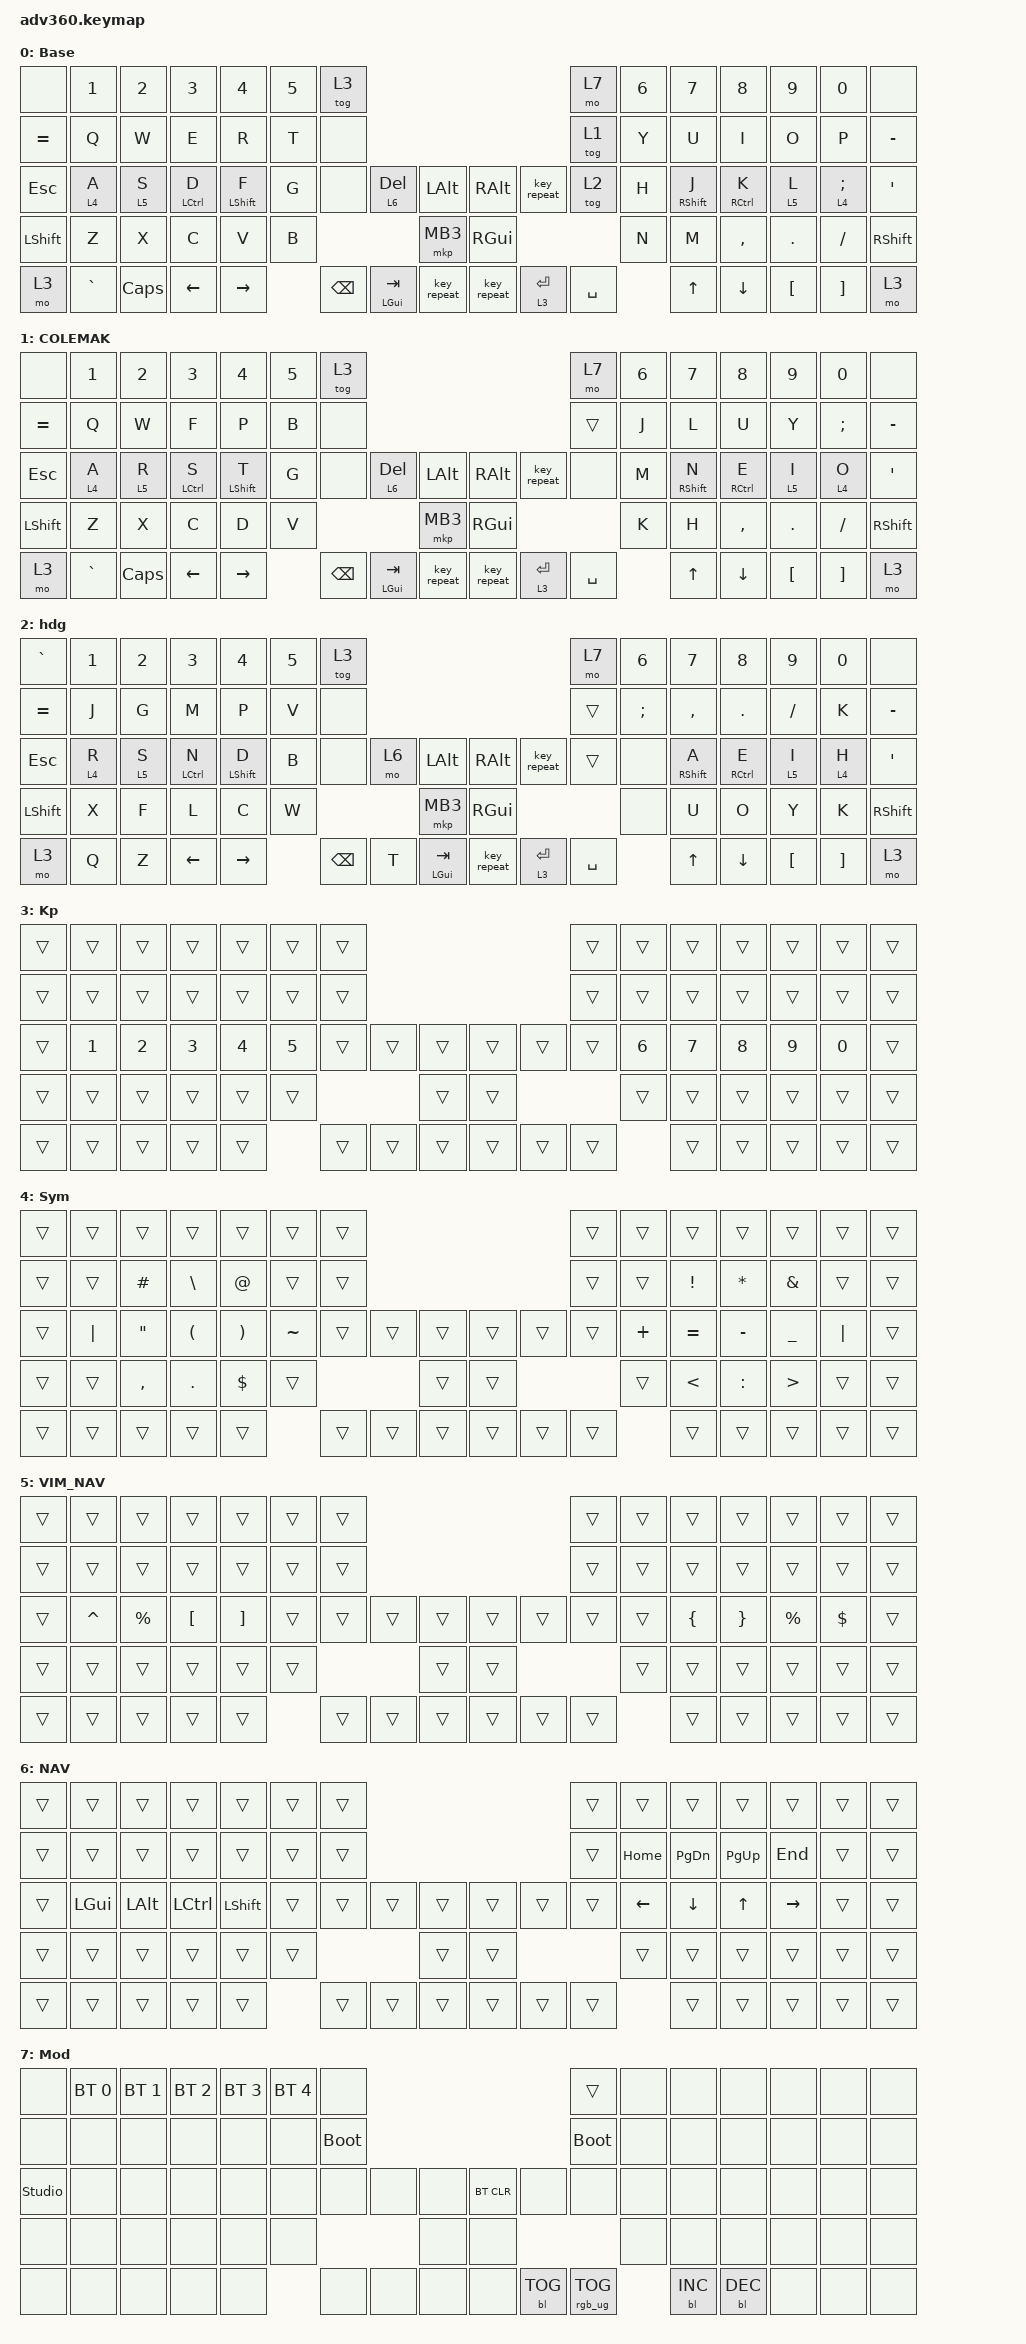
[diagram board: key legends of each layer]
#include <dt-bindings/zmk/stp.h>
#include <behaviors.dtsi>
#include <dt-bindings/zmk/backlight.h>
#include <dt-bindings/zmk/bt.h>
#include <dt-bindings/zmk/keys.h>
#include <dt-bindings/zmk/pointing.h>
#include <dt-bindings/zmk/rgb.h>

#define KPL 1
#define MOD 2
#define SYM 3
#define NAV 4
#define HM_A hll SYM A
#define HM_S hll KPL S
#define HM_D hml LCTRL D
#define HM_F hml LSHIFT F
#define HM_J    hmr RSHIFT J
#define HM_K    hmr RCTRL K
#define HM_L    hnl NAV L
#define HM_SEMI hlr SYM SEMI
#define KEYS_LEFT  0  1  2  3  4  5  6 \
                  14 15 16 17 18 19 20 \
                  28 29 30 31 32 33 34 \
                  46 47 48 49 50 51    \
                  60 61 62 63 64
#define KEYS_RIGHT  7  8  9 10 11 12 13 \
                   21 22 23 24 25 26 27 \
                   39 40 41 42 43 44 45 \
                      54 55 56 57 58 59 \
                         71 72 73 74 75
#define KEYS_NAV 29 30 31 32             41 42    44 \
                                      54 55 56 57
#define THUMBS_LEFT 35 36 52 65 66 67
#define THUMBS_RIGHT 37 38 53 68 69 70

&mt {
    tapping-term-ms = <170>;
    quick-tap-ms = <100>;
    flavor = "balanced";
};

/ {
    behaviors {
        #include "macros.dtsi"
	#include "version.dtsi"

        hll: home_row_layer_left {
            compatible = "zmk,behavior-hold-tap";
            #binding-cells = <2>;
            flavor = "balanced";
            require-prior-idle-ms = <60>;
            tapping-term-ms = <200>;
            quick-tap-ms = <100>;
            bindings = <&mo>, <&kp>;

            hold-trigger-key-positions = <KEYS_RIGHT 7 8 9 10 11 12 13 21 22 23 24 25 26 27 39 40 41 42 43 44 45 54 55 56 57 58 59 71 72 73 74 75>;
            hold-trigger-on-release;
            label = "HLL";
        };

        hlr: home_layer_right {
            compatible = "zmk,behavior-hold-tap";
            #binding-cells = <2>;
            flavor = "balanced";
            require-prior-idle-ms = <60>;
            tapping-term-ms = <200>;
            quick-tap-ms = <100>;
            bindings = <&mo>, <&kp>;

            hold-trigger-key-positions = <KEYS_LEFT 0 1 2 3 4 5 6 14 15 16 17 18 19 20 28 29 30 31 32 33 34 46 47 48 49 50 51 60 61 62 63 64>;
            hold-trigger-on-release;
            label = "HLR";
        };

        hml: home_row_mod_left {
            compatible = "zmk,behavior-hold-tap";
            #binding-cells = <2>;
            flavor = "balanced";
            require-prior-idle-ms = <150>;
            tapping-term-ms = <280>;
            quick-tap-ms = <175>;
            bindings = <&kp>, <&kp>;

            hold-trigger-key-positions = <THUMBS_RIGHT KEYS_RIGHT 7 8 9 10 11 12 13 21 22 23 24 25 26 27 37 38 39 40 41 42 43 44 45 53 54 55 56 57 58 59 68 69 70 71 72 73 74 75>;
            hold-trigger-on-release;
        };

        hmr: home_row_mod_right {
            compatible = "zmk,behavior-hold-tap";
            #binding-cells = <2>;
            flavor = "balanced";
            require-prior-idle-ms = <150>;
            tapping-term-ms = <280>;
            quick-tap-ms = <175>;
            bindings = <&kp>, <&kp>;

            hold-trigger-key-positions = <THUMBS_LEFT KEYS_LEFT 0 1 2 3 4 5 6 14 15 16 17 18 19 20 28 29 30 31 32 33 34 46 47 48 49 50 51 60 61 62 63 64 35 36 52 64 65 66 67>;
            hold-trigger-on-release;
        };
    };

    combos {
        compatible = "zmk,combos";

        leader {
            key-positions = <32 41>;
            bindings = <&kp BSLH>;
        };

        capsword {
            bindings = <&caps_word>;
            key-positions = <31 42>;
        };

        hdg_q {
            bindings = <&kp Q>;
            key-positions = <15 16>;
        };

        hdg_z {
            bindings = <&kp Z>;
            key-positions = <16 18>;
        };
    };

    keymap {
        compatible = "zmk,keymap";

        default_layer {
            display-name = "Base";
            bindings = <
&none      &kp N1     &kp N2    &kp N3        &kp N4        &kp N5  &tog 3                                                             &mo 7      &kp N6  &kp N7        &kp N8        &kp N9    &kp N0            &none
&kp EQUAL  &kp Q      &kp W     &kp E         &kp R         &kp T   &none                                                              &tog 1     &kp Y   &kp U         &kp I         &kp O     &kp P             &kp MINUS
&kp ESC    &hll 4 A   &hll 5 S  &hml LCTRL D  &hml LSHFT F  &kp G   &none     &lt 6 DEL     &kp LALT         &kp RALT     &key_repeat  &tog 2     &kp H   &hmr RSHFT J  &hmr RCTRL K  &hlr 5 L  &hlr 4 SEMICOLON  &kp SQT
&kp LSHFT  &kp Z      &kp X     &kp C         &kp V         &kp B                           &mkp MB3         &kp RGUI                             &kp N   &kp M         &kp COMMA     &kp DOT   &kp FSLH          &kp RSHFT
&mo 3      &kp GRAVE  &kp CAPS  &kp LEFT      &kp RIGHT             &kp BSPC  &mt LGUI TAB  &key_repeat      &key_repeat  &lt 3 ENTER  &kp SPACE          &kp UP        &kp DOWN      &kp LBKT  &kp RBKT          &mo 3
            >;
        };

        colemak {
            display-name = "COLEMAK";
            bindings = <
&none      &kp N1     &kp N2    &kp N3        &kp N4        &kp N5  &tog 3                                                             &mo 7      &kp N6  &kp N7        &kp N8        &kp N9    &kp N0    &none
&kp EQUAL  &kp Q      &kp W     &kp F         &kp P         &kp B   &none                                                              &trans     &kp J   &kp L         &kp U         &kp Y     &kp SEMI  &kp MINUS
&kp ESC    &hll 4 A   &hll 5 R  &hml LCTRL S  &hml LSHFT T  &kp G   &none     &lt 6 DEL     &kp LALT         &kp RALT     &key_repeat  &none      &kp M   &hmr RSHFT N  &hmr RCTRL E  &hlr 5 I  &hlr 4 O  &kp SQT
&kp LSHFT  &kp Z      &kp X     &kp C         &kp D         &kp V                           &mkp MB3         &kp RGUI                             &kp K   &kp H         &kp COMMA     &kp DOT   &kp FSLH  &kp RSHFT
&mo 3      &kp GRAVE  &kp CAPS  &kp LEFT      &kp RIGHT             &kp BSPC  &mt LGUI TAB  &key_repeat      &key_repeat  &lt 3 ENTER  &kp SPACE          &kp UP        &kp DOWN      &kp LBKT  &kp RBKT  &mo 3
            >;
        };

        hands_down_gold {
            display-name = "hdg";
            bindings = <
&kp GRAVE  &kp N1    &kp N2    &kp N3        &kp N4        &kp N5  &tog 3                                                            &mo 7      &kp N6    &kp N7        &kp N8        &kp N9    &kp N0    &none
&kp EQUAL  &kp J     &kp G     &kp M         &kp P         &kp V   &none                                                             &trans     &kp SEMI  &kp COMMA     &kp DOT       &kp FSLH  &kp K     &kp MINUS
&kp ESC    &hll 4 R  &hll 5 S  &hml LCTRL N  &hml LSHFT D  &kp B   &none          &mo 6  &kp LALT          &kp RALT     &key_repeat  &trans     &none     &hmr RSHFT A  &hmr RCTRL E  &hlr 5 I  &hlr 4 H  &kp SQT
&kp LSHFT  &kp X     &kp F     &kp L         &kp C         &kp W                         &mkp MB3          &kp RGUI                             &none     &kp U         &kp O         &kp Y     &kp K     &kp RSHFT
&mo 3      &kp Q     &kp Z     &kp LEFT      &kp RIGHT             &kp BACKSPACE  &kp T  &mt LGUI TAB      &key_repeat  &lt 3 ENTER  &kp SPACE            &kp UP        &kp DOWN      &kp LBKT  &kp RBKT  &mo 3
            >;
        };

        keypad {
            display-name = "Kp";
            bindings = <
&trans  &trans  &trans  &trans  &trans  &trans  &trans                                      &trans  &trans  &trans  &trans  &trans  &trans  &trans
&trans  &trans  &trans  &trans  &trans  &trans  &trans                                      &trans  &trans  &trans  &trans  &trans  &trans  &trans
&trans  &kp N1  &kp N2  &kp N3  &kp N4  &kp N5  &trans  &trans  &trans      &trans  &trans  &trans  &kp N6  &kp N7  &kp N8  &kp N9  &kp N0  &trans
&trans  &trans  &trans  &trans  &trans  &trans                  &trans      &trans                  &trans  &trans  &trans  &trans  &trans  &trans
&trans  &trans  &trans  &trans  &trans          &trans  &trans  &trans      &trans  &trans  &trans          &trans  &trans  &trans  &trans  &trans
            >;
        };

        symbol {
            display-name = "Sym";
            bindings = <
&trans  &trans    &trans     &trans    &trans    &trans     &trans                                      &trans  &trans    &trans     &trans     &trans     &trans    &trans
&trans  &trans    &kp HASH   &kp BSLH  &kp AT    &trans     &trans                                      &trans  &trans    &kp EXCL   &kp STAR   &kp AMPS   &trans    &trans
&trans  &kp PIPE  &kp DQT    &kp LPAR  &kp RPAR  &kp TILDE  &trans  &trans  &trans      &trans  &trans  &trans  &kp PLUS  &kp EQUAL  &kp MINUS  &kp UNDER  &kp PIPE  &trans
&trans  &trans    &kp COMMA  &kp DOT   &kp DLLR  &trans                     &trans      &trans                  &trans    &kp LT     &kp COLON  &kp GT     &trans    &trans
&trans  &trans    &trans     &trans    &trans               &trans  &trans  &trans      &trans  &trans  &trans            &trans     &trans     &trans     &trans    &trans
            >;
        };

        vim_nav {
            display-name = "VIM_NAV";
            bindings = <
&trans  &trans     &trans     &trans    &trans    &trans  &trans                                      &trans  &trans  &trans    &trans    &trans     &trans    &trans
&trans  &trans     &trans     &trans    &trans    &trans  &trans                                      &trans  &trans  &trans    &trans    &trans     &trans    &trans
&trans  &kp CARET  &kp PRCNT  &kp LBKT  &kp RBKT  &trans  &trans  &trans  &trans      &trans  &trans  &trans  &trans  &kp LBRC  &kp RBRC  &kp PRCNT  &kp DLLR  &trans
&trans  &trans     &trans     &trans    &trans    &trans                  &trans      &trans                  &trans  &trans    &trans    &trans     &trans    &trans
&trans  &trans     &trans     &trans    &trans            &trans  &trans  &trans      &trans  &trans  &trans          &trans    &trans    &trans     &trans    &trans
            >;

            label = "VIM_NAV";
        };

        nav {
            bindings = <
&trans  &trans    &trans    &trans     &trans     &trans  &trans                                      &trans  &trans    &trans     &trans     &trans     &trans  &trans
&trans  &trans    &trans    &trans     &trans     &trans  &trans                                      &trans  &kp HOME  &kp PG_DN  &kp PG_UP  &kp END    &trans  &trans
&trans  &kp LGUI  &kp LALT  &kp LCTRL  &kp LSHFT  &trans  &trans  &trans  &trans      &trans  &trans  &trans  &kp LEFT  &kp DOWN   &kp UP     &kp RIGHT  &trans  &trans
&trans  &trans    &trans    &trans     &trans     &trans                  &trans      &trans                  &trans    &trans     &trans     &trans     &trans  &trans
&trans  &trans    &trans    &trans     &trans             &trans  &trans  &trans      &trans  &trans  &trans            &trans     &trans     &trans     &trans  &trans
            >;

            label = "NAV";
        };

        mod {
            display-name = "Mod";
            bindings = <
&none           &bt BT_SEL 0  &bt BT_SEL 1  &bt BT_SEL 2  &bt BT_SEL 3  &bt BT_SEL 4  &none                                                  &trans           &none  &none       &none       &none  &none  &none
&none           &none         &none         &none         &none         &none         &bootloader                                            &bootloader      &none  &none       &none       &none  &none  &none
&studio_unlock  &none         &none         &none         &none         &none         &none        &none  &none      &bt BT_CLR  &none       &none            &none  &none       &none       &none  &none  &none
&none           &none         &none         &none         &none         &none                             &none      &none                                    &none  &none       &none       &none  &none  &none
&none           &none         &none         &none         &none                       &none        &none  &none      &none       &bl BL_TOG  &rgb_ug RGB_TOG         &bl BL_INC  &bl BL_DEC  &none  &none  &none
            >;
        };
    };
};
